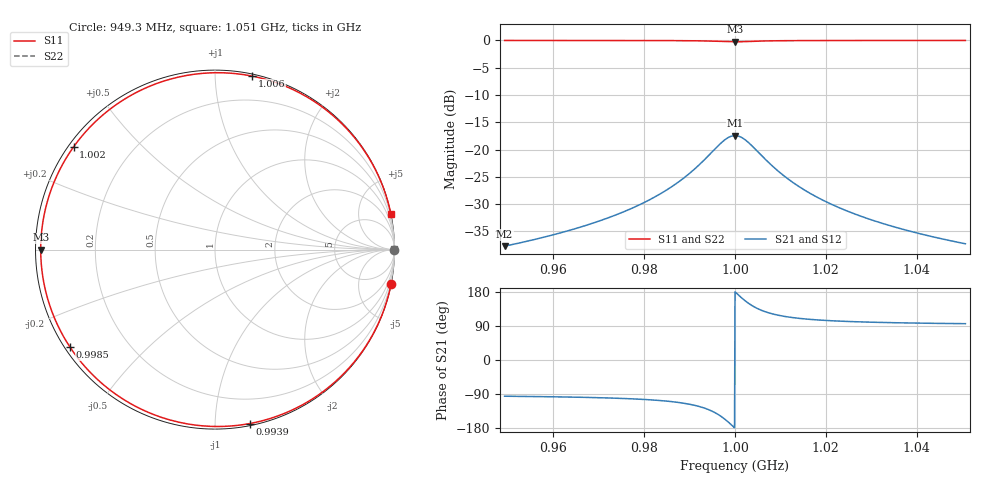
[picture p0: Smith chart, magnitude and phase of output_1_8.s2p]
! File generated for n1 = 1, n2 = 8
! b1 = 100.000000
! b2 = 0.464159
! Q0 = 10000.000000
! f0 = 1000000000.000000
! n = 1001
! rel_span = 10.000000
# Hz S RI R 50
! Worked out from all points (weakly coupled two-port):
!   1001 points, 949.3 MHz to 1.051 GHz, reference 50 ohm
!   highest |S21| = -17.44 dB at 1 GHz (marker M1); lowest = -37.7 dB at 949.3 MHz (marker M2)
!   lowest |S11| = -0.3 dB at 1 GHz (marker M3), VSWR 68.30, Z = 0.732 + j0 ohm
!   |S11| at or under -10 dB: nowhere
!   |S22| runs from -0.1 to 0.0 dB; largest |S21 - S12| = 0
!   S11 on the Smith chart (normalised r, x): 949.3 MHz: 0, -10; 993.9 MHz: 0.01, -1.22; 998.5 MHz: 0.01, -0.30; 1.002 GHz: 0.01, +0.32; 1.006 GHz: 0.01, +1.23; 1.051 GHz: 0.01, +9.90
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9.492679e8  0.9815 -0.1902  -0.00126 -0.013  -0.00126 -0.013  0.9999 -0.000883
9.662124e8  0.958 -0.2847  -0.00286 -0.0194  -0.00286 -0.0194  0.9998 -0.00132
9.758515e8  0.9186 -0.3922  -0.00554 -0.0267  -0.00554 -0.0267  0.9996 -0.00182
9.831569e8  0.8386 -0.5405  -0.011 -0.0368  -0.011 -0.0368  0.9993 -0.00251
9.896507e8  0.6213 -0.7766  -0.0258 -0.0529  -0.0258 -0.0529  0.9982 -0.0036
9.919843e8  0.4395 -0.8892  -0.0382 -0.0606  -0.0382 -0.0606  0.9974 -0.00413
9.939122e8  0.1951 -0.9689  -0.0548 -0.066  -0.0548 -0.066  0.9963 -0.0045
9.964488e8  -0.3214 -0.9266  -0.09 -0.0631  -0.09 -0.0631  0.9939 -0.0043
9.974634e8  -0.5761 -0.7891  -0.1074 -0.0538  -0.1074 -0.0538  0.9927 -0.00366
9.98478e8  -0.8082 -0.5429  -0.1232 -0.037  -0.1232 -0.037  0.9916 -0.00252
1e9  -0.9711 0  -0.1343 0  -0.1343 0  0.9909 0
1.000812e9  -0.922 0.3074  -0.1309 0.0209  -0.1309 0.0209  0.9911 0.00143
1.001623e9  -0.7883 0.5718  -0.1218 0.039  -0.1218 0.039  0.9917 0.00265
1.002537e9  -0.5777 0.7879  -0.1075 0.0537  -0.1075 0.0537  0.9927 0.00366
1.003551e9  -0.3245 0.9255  -0.0902 0.0631  -0.0902 0.0631  0.9939 0.0043
1.004667e9  -0.0698 0.982  -0.0729 0.0669  -0.0729 0.0669  0.995 0.00456
1.006189e9  0.2049 0.967  -0.0542 0.0659  -0.0542 0.0659  0.9963 0.00449
1.008117e9  0.4431 0.8875  -0.0379 0.0605  -0.0379 0.0605  0.9974 0.00412
1.010451e9  0.6209 0.7769  -0.0258 0.0529  -0.0258 0.0529  0.9982 0.00361
1.016945e9  0.8353 0.5454  -0.0112 0.0372  -0.0112 0.0372  0.9992 0.00253
1.033889e9  0.9554 0.2932  -0.00304 0.02  -0.00304 0.02  0.9998 0.00136
1.050732e9  0.9795 0.1999  -0.0014 0.0136  -0.0014 0.0136  0.9999 0.000928
